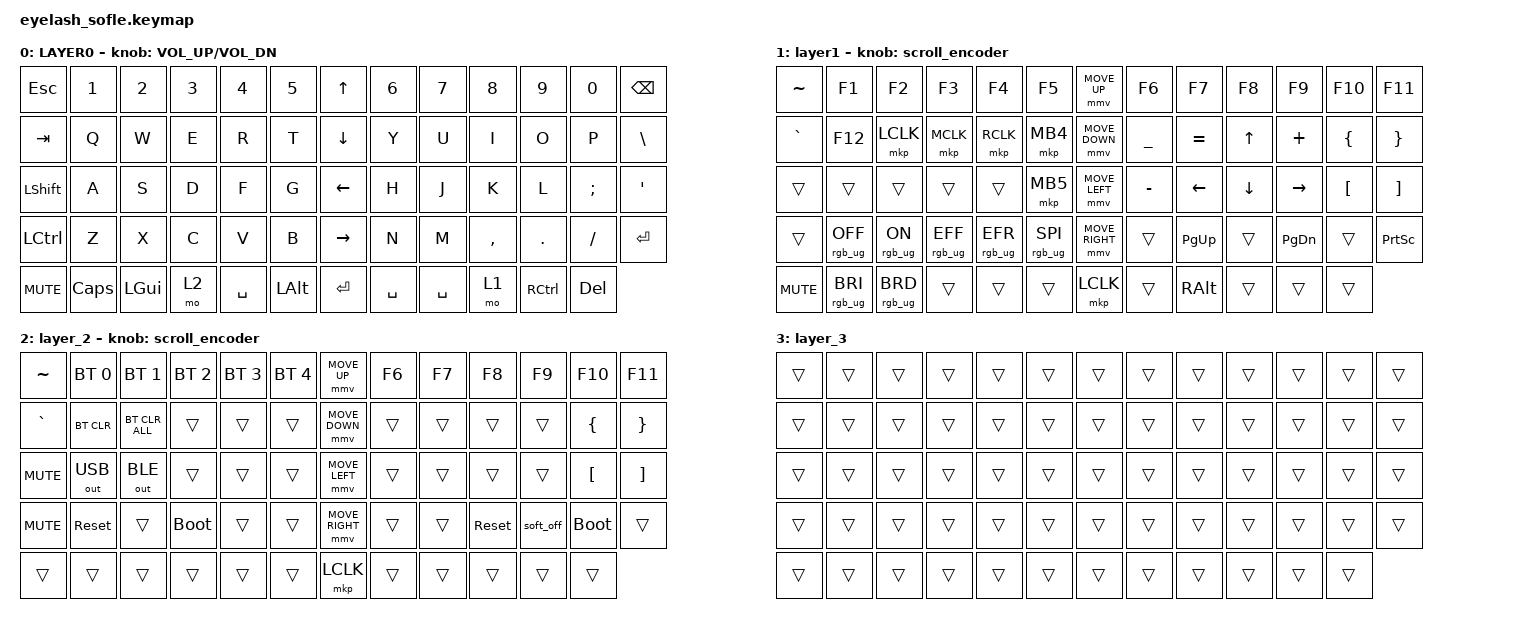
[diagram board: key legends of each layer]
#define ZMK_POINTING_DEFAULT_MOVE_VAL 1200  // 600
#define ZMK_POINTING_DEFAULT_SCRL_VAL 25   // 10

#include <input/processors.dtsi>
#include <zephyr/dt-bindings/input/input-event-codes.h>
#include <behaviors.dtsi>
#include <dt-bindings/zmk/bt.h>
#include <dt-bindings/zmk/keys.h>
#include <dt-bindings/zmk/outputs.h>
#include <dt-bindings/zmk/pointing.h>
#include <dt-bindings/zmk/rgb.h>

&mmv_input_listener { input-processors = <&zip_xy_scaler 2 1>; };

&msc_input_listener { input-processors = <&zip_scroll_scaler 2 1>; };

&msc {
    acceleration-exponent = <1>;      // 0
    time-to-max-speed-ms = <100>;       // 300
    delay-ms = <0>;                   // 0
};

&mmv {
    time-to-max-speed-ms = <500>;
    acceleration-exponent = <1>;
    trigger-period-ms = <16>;
};

/ {
    scroll_encoder: scroll_encoder {
        compatible = "zmk,behavior-sensor-rotate";
        #sensor-binding-cells = <0>;
        bindings = <&msc SCRL_DOWN>, <&msc SCRL_UP>;

        tap-ms = <100>;
    };

    behaviors {
    };

    keymap {
        compatible = "zmk,keymap";

        layer0 {
            bindings = <
&kp ESC           &kp N1        &kp N2        &kp N3  &kp N4     &kp N5      &kp UP_ARROW     &kp N6     &kp N7     &kp N8     &kp N9     &kp N0      &kp BACKSPACE
&kp TAB           &kp Q         &kp W         &kp E   &kp R      &kp T       &kp DOWN_ARROW   &kp Y      &kp U      &kp I      &kp O      &kp P       &kp BACKSLASH
&kp LEFT_SHIFT    &kp A         &kp S         &kp D   &kp F      &kp G       &kp LEFT_ARROW   &kp H      &kp J      &kp K      &kp L      &kp SEMI    &kp APOS
&kp LEFT_CONTROL  &kp Z         &kp X         &kp C   &kp V      &kp B       &kp RIGHT_ARROW  &kp N      &kp M      &kp COMMA  &kp DOT    &kp FSLH    &kp ENTER
&kp C_MUTE        &kp CAPSLOCK  &kp LEFT_GUI  &mo 2   &kp SPACE  &kp LALT    &kp ENTER        &kp SPACE  &kp SPACE  &mo 1      &kp RCTRL  &kp DELETE
            >;

            sensor-bindings = <&inc_dec_kp C_VOLUME_UP C_VOL_DN>;
            display-name = "LAYER0";
        };

        layer_1 {
            bindings = <
&kp TILDE   &kp F1           &kp F2           &kp F3           &kp F4           &kp F5             &mmv MOVE_UP     &kp F6     &kp F7         &kp F8        &kp F9         &kp F10           &kp F11
&kp GRAVE   &kp F12          &mkp LCLK        &mkp MCLK        &mkp RCLK        &mkp MB4           &mmv MOVE_DOWN   &kp UNDER  &kp EQUAL      &kp UP_ARROW  &kp PLUS       &kp LEFT_BRACE    &kp RIGHT_BRACE
&trans      &trans           &trans           &trans           &trans           &mkp MB5           &mmv MOVE_LEFT   &kp MINUS  &kp LEFT       &kp DOWN      &kp RIGHT      &kp LEFT_BRACKET  &kp RIGHT_BRACKET
&trans      &rgb_ug RGB_OFF  &rgb_ug RGB_ON   &rgb_ug RGB_EFF  &rgb_ug RGB_EFR  &rgb_ug RGB_SPI    &mmv MOVE_RIGHT  &trans     &kp PG_UP      &trans        &kp PAGE_DOWN  &trans            &kp PRINTSCREEN
&kp C_MUTE  &rgb_ug RGB_BRI  &rgb_ug RGB_BRD  &trans           &trans           &trans             &mkp LCLK        &trans     &kp RIGHT_ALT  &trans        &trans         &trans
            >;

            display-name = "layer1";
            sensor-bindings = <&scroll_encoder>;
        };

        layer_2 {
            bindings = <
&kp TILDE   &bt BT_SEL 0  &bt BT_SEL 1    &bt BT_SEL 2  &bt BT_SEL 3  &bt BT_SEL 4    &mmv MOVE_UP     &kp F6  &kp F7  &kp F8      &kp F9     &kp F10           &kp F11
&kp GRAVE   &bt BT_CLR    &bt BT_CLR_ALL  &trans        &trans        &trans          &mmv MOVE_DOWN   &trans  &trans  &trans      &trans     &kp LEFT_BRACE    &kp RIGHT_BRACE
&kp C_MUTE  &out OUT_USB  &out OUT_BLE    &trans        &trans        &trans          &mmv MOVE_LEFT   &trans  &trans  &trans      &trans     &kp LEFT_BRACKET  &kp RIGHT_BRACKET
&kp K_MUTE  &sys_reset    &trans          &bootloader   &trans        &trans          &mmv MOVE_RIGHT  &trans  &trans  &sys_reset  &soft_off  &bootloader       &trans
&trans      &trans        &trans          &trans        &trans        &trans          &mkp LCLK        &trans  &trans  &trans      &trans     &trans
            >;

            sensor-bindings = <&scroll_encoder>;
        };

        layer_3 {
            bindings = <
&trans  &trans  &trans  &trans  &trans  &trans    &trans  &trans  &trans  &trans  &trans  &trans  &trans
&trans  &trans  &trans  &trans  &trans  &trans    &trans  &trans  &trans  &trans  &trans  &trans  &trans
&trans  &trans  &trans  &trans  &trans  &trans    &trans  &trans  &trans  &trans  &trans  &trans  &trans
&trans  &trans  &trans  &trans  &trans  &trans    &trans  &trans  &trans  &trans  &trans  &trans  &trans
&trans  &trans  &trans  &trans  &trans  &trans    &trans  &trans  &trans  &trans  &trans  &trans
            >;
        };
    };
};
